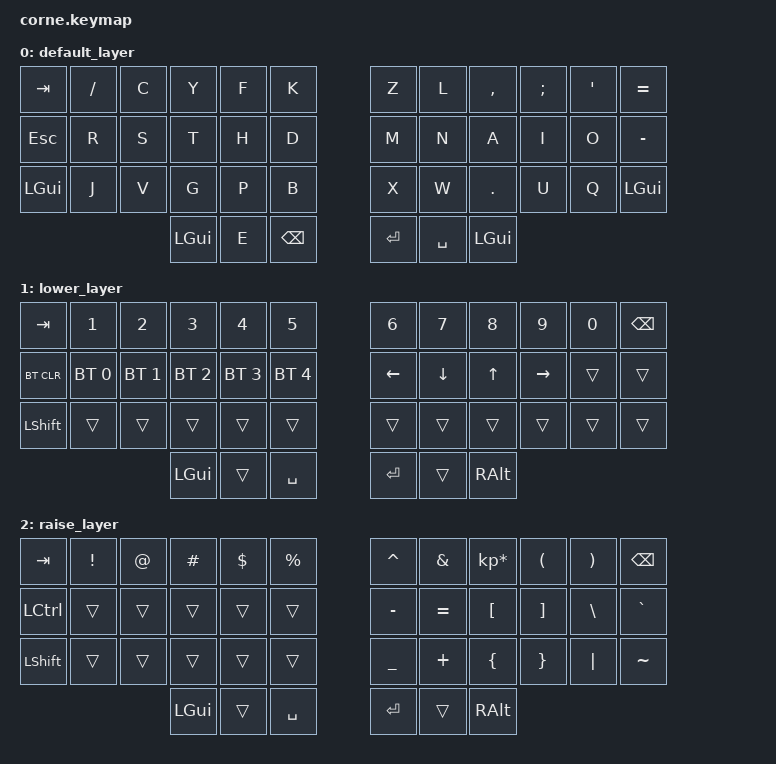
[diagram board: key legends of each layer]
/*
 * Copyright (c) 2020 The ZMK Contributors
 *
 * SPDX-License-Identifier: MIT
 */

#include <behaviors.dtsi>
#include <dt-bindings/zmk/keys.h>
#include <dt-bindings/zmk/bt.h>

/ {
        keymap {
                compatible = "zmk,keymap";

                default_layer {
// -----------------------------------------------------------------------------------------
// | TAB  |  /  |  C  |  Y  |  F  |  K  |   |  Z  |  L   |  ,  |  ;  |  '  |  =   |
// | ESC  |  R  |  S  |  T  |  H  |  D  |   |  M  |  N   |  A  |  I  |  O  |  -   |
// | GUI  |  J  |  V  |  G  |  P  |  B  |   |  X  |  W   |  .  |  U  |  Q  | GUI  |
//                    | GUI |  E  | BKSP|   | ENT | SPC  | GUI |
                        bindings = <
   &kp TAB  &kp SLASH &kp C    &kp Y &kp F &kp K      &kp Z     &kp L     &kp COMMA &kp SEMI &kp SQT  &kp EQUAL
   &kp ESC  &kp R     &kp S    &kp T &kp H &kp D      &kp M     &kp N     &kp A     &kp I    &kp O    &kp MINUS
   &kp LGUI &kp J     &kp V    &kp G &kp P &kp B      &kp X     &kp W     &kp DOT   &kp U    &kp Q    &kp LGUI
                      &kp LGUI &kp E &kp BKSP         &kp RET   &kp SPACE &kp LGUI
                        >;
                };
                lower_layer {
// -----------------------------------------------------------------------------------------
// |  TAB |  1  |  2  |  3  |  4  |  5  |   |  6  |  7  |  8  |  9  |  0  | BKSP |
// | BTCLR| BT1 | BT2 | BT3 | BT4 | BT5 |   | LFT | DWN |  UP | RGT |     |      |
// | SHFT |     |     |     |     |     |   |     |     |     |     |     |      |
//                    | GUI |     | SPC |   | ENT |     | ALT |
                        bindings = <
   &kp TAB    &kp N1       &kp N2       &kp N3       &kp N4       &kp N5         &kp N6   &kp N7   &kp N8 &kp N9    &kp N0 &kp BSPC
   &bt BT_CLR &bt BT_SEL 0 &bt BT_SEL 1 &bt BT_SEL 2 &bt BT_SEL 3 &bt BT_SEL 4   &kp LEFT &kp DOWN &kp UP &kp RIGHT &trans &trans
   &kp LSHFT  &trans       &trans       &trans       &trans       &trans         &trans   &trans   &trans &trans    &trans &trans
                          	        &kp LGUI     &trans       &kp SPACE      &kp RET  &trans   &kp RALT
                        >;
                };

                raise_layer {
// -----------------------------------------------------------------------------------------
// |  TAB |  !  |  @  |  #  |  $  |  %  |   |  ^  |  &  |  *  |  (  |  )  | BKSP |
// | CTRL |     |     |     |     |     |   |  -  |  =  |  [  |  ]  |  \  |  `   |
// | SHFT |     |     |     |     |     |   |  _  |  +  |  {  |  }  | "|" |  ~   |
//                    | GUI |     | SPC |   | ENT |     | ALT |
                        bindings = <
   &kp  TAB  &kp EXCL &kp AT &kp HASH &kp DLLR &kp PRCNT   &kp CARET &kp AMPS  &kp KP_MULTIPLY &kp LPAR &kp RPAR &kp BSPC
   &kp LCTRL &trans   &trans &trans   &trans   &trans      &kp MINUS &kp EQUAL &kp LBKT        &kp RBKT &kp BSLH &kp GRAVE
   &kp LSHFT &trans   &trans &trans   &trans   &trans      &kp UNDER &kp PLUS  &kp LBRC        &kp RBRC &kp PIPE &kp TILDE
                    	     &kp LGUI &trans   &kp SPACE   &kp RET   &trans    &kp RALT
                        >;
                };
        };
};
